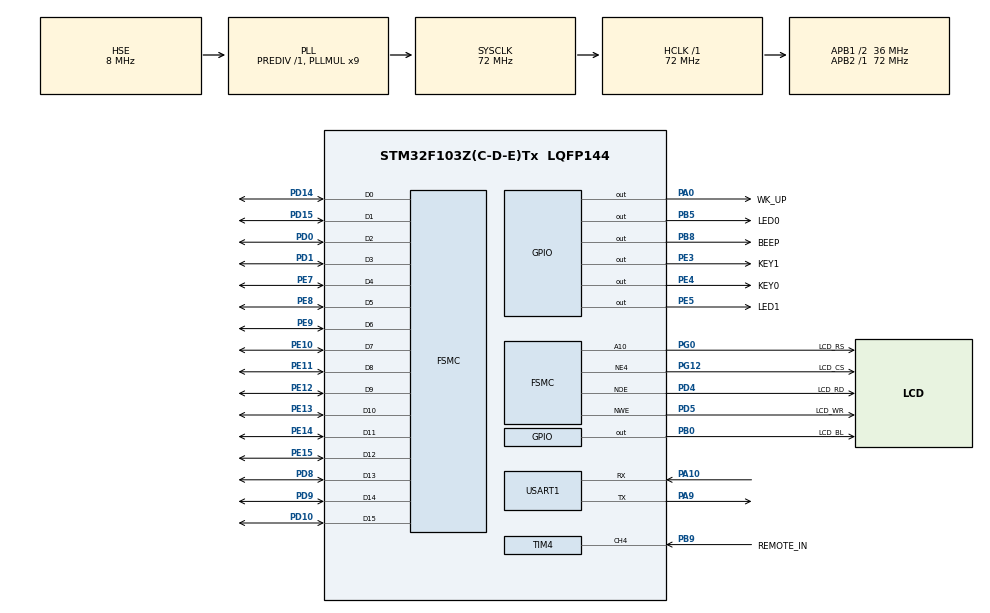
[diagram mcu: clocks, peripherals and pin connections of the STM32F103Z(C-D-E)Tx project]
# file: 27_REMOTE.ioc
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FSMC.AddressSetupTime1=0
FSMC.BusTurnAroundDuration1=15
FSMC.DataSetupTime1=15
FSMC.ExtendedAddressSetupTime1=0
FSMC.ExtendedDataSetupTime1=1
FSMC.ExtendedMode1=FSMC_EXTENDED_MODE_ENABLE
Mcu.Family=STM32F1
Mcu.Name=STM32F103Z(C-D-E)Tx
Mcu.Package=LQFP144
NVIC.PriorityGroup=NVIC_PRIORITYGROUP_2
NVIC.TIM4_IRQn=true\:2\:1\:true\:false\:true\:true\:true\:true
NVIC.USART1_IRQn=true\:2\:2\:true\:false\:true\:true\:true\:true
OSC_IN.Mode=HSE-External-Oscillator
OSC_IN.Signal=RCC_OSC_IN
OSC_OUT.Mode=HSE-External-Oscillator
OSC_OUT.Signal=RCC_OSC_OUT
PA0-WKUP.GPIO_Label=WK_UP
PA0-WKUP.GPIO_PuPd=GPIO_PULLDOWN
PA0-WKUP.GPIO_Speed=GPIO_SPEED_FREQ_HIGH
PA0-WKUP.PinState=GPIO_PIN_RESET
PA0-WKUP.Signal=GPIO_Output
PA10.Mode=Asynchronous
PA10.Signal=USART1_RX
PA13.Mode=Serial_Wire
PA13.Signal=SYS_JTMS-SWDIO
PA14.Mode=Serial_Wire
PA14.Signal=SYS_JTCK-SWCLK
PA9.Mode=Asynchronous
PA9.Signal=USART1_TX
PB0.GPIO_Label=LCD_BL
PB0.GPIO_PuPd=GPIO_PULLUP
PB0.GPIO_Speed=GPIO_SPEED_FREQ_HIGH
PB0.PinState=GPIO_PIN_SET
PB0.Signal=GPIO_Output
PB5.GPIO_Label=LED0
PB5.GPIO_PuPd=GPIO_PULLUP
PB5.GPIO_Speed=GPIO_SPEED_FREQ_HIGH
PB5.PinState=GPIO_PIN_SET
PB5.Signal=GPIO_Output
PB8.GPIO_Label=BEEP
PB8.GPIO_ModeDefaultOutputPP=GPIO_MODE_OUTPUT_PP
PB8.GPIO_PuPd=GPIO_PULLDOWN
PB8.GPIO_Speed=GPIO_SPEED_FREQ_HIGH
PB8.PinState=GPIO_PIN_RESET
PB8.Signal=GPIO_Output
PB9.GPIO_Label=REMOTE_IN
PB9.GPIO_PuPd=GPIO_PULLUP
PB9.Signal=S_TIM4_CH4
PC14-OSC32_IN.Mode=LSE-External-Oscillator
PC14-OSC32_IN.Signal=RCC_OSC32_IN
PC15-OSC32_OUT.Mode=LSE-External-Oscillator
PC15-OSC32_OUT.Signal=RCC_OSC32_OUT
PD0.Signal=FSMC_D2_DA2
PD1.Signal=FSMC_D3_DA3
PD10.Signal=FSMC_D15_DA15
PD14.Signal=FSMC_D0_DA0
PD15.Signal=FSMC_D1_DA1
PD4.GPIO_Label=LCD_RD
PD4.Signal=FSMC_NOE
PD5.GPIO_Label=LCD_WR
PD5.Signal=FSMC_NWE
PD8.Signal=FSMC_D13_DA13
PD9.Signal=FSMC_D14_DA14
PE10.Signal=FSMC_D7_DA7
PE11.Signal=FSMC_D8_DA8
PE12.Signal=FSMC_D9_DA9
PE13.Signal=FSMC_D10_DA10
PE14.Signal=FSMC_D11_DA11
PE15.Signal=FSMC_D12_DA12
PE3.GPIO_Label=KEY1
PE3.GPIO_PuPd=GPIO_PULLUP
PE3.GPIO_Speed=GPIO_SPEED_FREQ_HIGH
PE3.PinState=GPIO_PIN_SET
PE3.Signal=GPIO_Output
PE4.GPIO_Label=KEY0
PE4.GPIO_PuPd=GPIO_PULLUP
PE4.GPIO_Speed=GPIO_SPEED_FREQ_HIGH
PE4.PinState=GPIO_PIN_SET
PE4.Signal=GPIO_Output
PE5.GPIO_Label=LED1
PE5.GPIO_PuPd=GPIO_PULLUP
PE5.GPIO_Speed=GPIO_SPEED_FREQ_HIGH
PE5.PinState=GPIO_PIN_SET
PE5.Signal=GPIO_Output
PE7.Signal=FSMC_D4_DA4
PE8.Signal=FSMC_D5_DA5
PE9.Signal=FSMC_D6_DA6
PG0.GPIO_Label=LCD_RS
PG0.Signal=FSMC_A10
PG12.GPIO_Label=LCD_CS
PG12.Mode=NorPsramChipSelect4_1
PG12.Signal=FSMC_NE4
ProjectManager.HeapSize=0x200
ProjectManager.StackSize=0x400
ProjectManager.TargetToolchain=STM32CubeIDE
RCC.AHBFreq_Value=72000000
RCC.APB1CLKDivider=RCC_HCLK_DIV2
RCC.APB1Freq_Value=36000000
RCC.APB1TimFreq_Value=72000000
RCC.APB2Freq_Value=72000000
RCC.APB2TimFreq_Value=72000000
RCC.HCLKFreq_Value=72000000
RCC.PLLMUL=RCC_PLL_MUL9
RCC.PLLSourceVirtual=RCC_PLLSOURCE_HSE
RCC.SYSCLKFreq_VALUE=72000000
RCC.SYSCLKSource=RCC_SYSCLKSOURCE_PLLCLK
RCC.USBFreq_Value=72000000
SH.FSMC_A10.0=FSMC_A10,A10_1
SH.FSMC_D0_DA0.0=FSMC_D0,16b-d1
SH.FSMC_D10_DA10.0=FSMC_D10,16b-d1
SH.FSMC_D11_DA11.0=FSMC_D11,16b-d1
SH.FSMC_D12_DA12.0=FSMC_D12,16b-d1
SH.FSMC_D13_DA13.0=FSMC_D13,16b-d1
SH.FSMC_D14_DA14.0=FSMC_D14,16b-d1
SH.FSMC_D15_DA15.0=FSMC_D15,16b-d1
SH.FSMC_D1_DA1.0=FSMC_D1,16b-d1
SH.FSMC_D2_DA2.0=FSMC_D2,16b-d1
SH.FSMC_D3_DA3.0=FSMC_D3,16b-d1
SH.FSMC_D4_DA4.0=FSMC_D4,16b-d1
SH.FSMC_D5_DA5.0=FSMC_D5,16b-d1
SH.FSMC_D6_DA6.0=FSMC_D6,16b-d1
SH.FSMC_D7_DA7.0=FSMC_D7,16b-d1
SH.FSMC_D8_DA8.0=FSMC_D8,16b-d1
SH.FSMC_D9_DA9.0=FSMC_D9,16b-d1
SH.FSMC_NOE.0=FSMC_NOE,Lcd1
SH.FSMC_NWE.0=FSMC_NWE,Lcd1
SH.S_TIM4_CH4.0=TIM4_CH4,Input_Capture4_from_TI4
TIM4.AutoReloadPreload=TIM_AUTORELOAD_PRELOAD_ENABLE
TIM4.Channel-Input_Capture4_from_TI4=TIM_CHANNEL_4
TIM4.Period=10000 - 1
TIM4.Prescaler=72 - 1
USART1.VirtualMode=VM_ASYNC
VP_TIM4_VS_ClockSourceINT.Mode=Internal
board=custom

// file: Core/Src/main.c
/* USER CODE BEGIN Header */

/* USER CODE END Header */
#include "main.h"
#include "tim.h"
#include "usart.h"
#include "gpio.h"
#include "fsmc.h"

/* USER CODE BEGIN Includes */
#include "../../BSP/LED/led.h"
#include "../../BSP/KEY/key.h"
#include "../../BSP/LCD/lcd.h"
#include "../../BSP/REMOTE/remote.h"
#include "../../SYSTEM/delay/delay.h"
/* USER CODE END Includes */

void SystemClock_Config(void);

int main(void)
{
  /* USER CODE BEGIN 1 */
    uint8_t key;
    uint8_t t = 0;
    char *str = 0;
  /* USER CODE END 1 */

  /* MCU Configuration--------------------------------------------------------*/

  /* Reset of all peripherals, Initializes the Flash interface and the Systick. */
  HAL_Init();

  /* Configure the system clock */
  SystemClock_Config();

  /* USER CODE BEGIN SysInit */
  delay_init(72);						   /* 初始化延时函数 */
  /* USER CODE END SysInit */

  /* Initialize all configured peripherals */
  MX_GPIO_Init();
  MX_FSMC_Init();
  MX_USART1_UART_Init();
  MX_TIM4_Init();
  /* USER CODE BEGIN 2 */
  lcd_init();                                         /* 初始化LCD */
  lcd_show_string(30,  50, 200, 16, 16, "STM32", RED);
  lcd_show_string(30,  70, 200, 16, 16, "REMOTE TEST", RED);
  lcd_show_string(30,  90, 200, 16, 16, "ATOM@ALIENTEK", RED);
  lcd_show_string(30, 110, 200, 16, 16, "KEYVAL:", RED);
  lcd_show_string(30, 130, 200, 16, 16, "KEYCNT:", RED);
  /* USER CODE END 2 */

  /* Infinite loop */
  /* USER CODE BEGIN WHILE */
  while (1)
  {
	  key = remote_scan();

	  if (key)
	  {
		  lcd_show_num(86, 110, key, 3, 16, BLUE);          /* 显示键值 */
		  lcd_show_num(86, 130, g_remote_cnt, 3, 16, BLUE); /* 显示按键次数 */

		  switch (key)
		  {
			  case 0:
				  str = "ERROR";
				  break;

			  case 69:
				  str = "POWER";
				  break;

			  case 70:
				  str = "UP";
				  break;

			  case 64:
				  str = "PLAY";
				  break;

			  case 71:
				  str = "ALIENTEK";
				  break;

			  case 67:
				  str = "RIGHT";
				  break;

			  case 68:
				  str = "LEFT";
				  break;

			  case 7:
				  str = "VOL-";
				  break;

			  case 21:
				  str = "DOWN";
				  break;

			  case 9:
				  str = "VOL+";
				  break;

			  case 22:
				  str = "1";
				  break;

			  case 25:
				  str = "2";
				  break;

			  case 13:
				  str = "3";
				  break;

			  case 12:
				  str = "4";
				  break;

			  case 24:
				  str = "5";
				  break;

			  case 94:
				  str = "6";
				  break;

			  case 8:
				  str = "7";
				  break;

			  case 28:
				  str = "8";
				  break;

			  case 90:
				  str = "9";
				  break;

			  case 66:
				  str = "0";
				  break;

			  case 74:
				  str = "DELETE";
				  break;
		  }

		  lcd_fill(86, 150, 116 + 8 * 8, 170 + 16, WHITE);    /* 清楚之前的显示 */
		  lcd_show_string(86, 150, 200, 16, 16, str, BLUE);   /* 显示SYMBOL */
	  }
	  else
	  {
		  delay_ms(10);
	  }

	  t++;

	  if (t == 20)
	  {
		  t = 0;
		  LED0_TOGGLE();  /* LED0闪烁 */
	  }

    /* USER CODE END WHILE */

  }
}

void SystemClock_Config(void)
{
  RCC_OscInitTypeDef RCC_OscInitStruct = {0};
  RCC_ClkInitTypeDef RCC_ClkInitStruct = {0};

  /** Initializes the RCC Oscillators according to the specified parameters
  * in the RCC_OscInitTypeDef structure.
  */
  RCC_OscInitStruct.OscillatorType = RCC_OSCILLATORTYPE_HSE;
  RCC_OscInitStruct.HSEState = RCC_HSE_ON;
  RCC_OscInitStruct.HSEPredivValue = RCC_HSE_PREDIV_DIV1;
  RCC_OscInitStruct.HSIState = RCC_HSI_ON;
  RCC_OscInitStruct.PLL.PLLState = RCC_PLL_ON;
  RCC_OscInitStruct.PLL.PLLSource = RCC_PLLSOURCE_HSE;
  RCC_OscInitStruct.PLL.PLLMUL = RCC_PLL_MUL9;
  if (HAL_RCC_OscConfig(&RCC_OscInitStruct) != HAL_OK)
  {
    Error_Handler();
  }

  /** Initializes the CPU, AHB and APB buses clocks
  */
  RCC_ClkInitStruct.ClockType = RCC_CLOCKTYPE_HCLK|RCC_CLOCKTYPE_SYSCLK
                              |RCC_CLOCKTYPE_PCLK1|RCC_CLOCKTYPE_PCLK2;
  RCC_ClkInitStruct.SYSCLKSource = RCC_SYSCLKSOURCE_PLLCLK;
  RCC_ClkInitStruct.AHBCLKDivider = RCC_SYSCLK_DIV1;
  RCC_ClkInitStruct.APB1CLKDivider = RCC_HCLK_DIV2;
  RCC_ClkInitStruct.APB2CLKDivider = RCC_HCLK_DIV1;

  if (HAL_RCC_ClockConfig(&RCC_ClkInitStruct, FLASH_LATENCY_2) != HAL_OK)
  {
    Error_Handler();
  }
}

void Error_Handler(void)
{
  __disable_irq();
  while (1)
  {
  }
}
